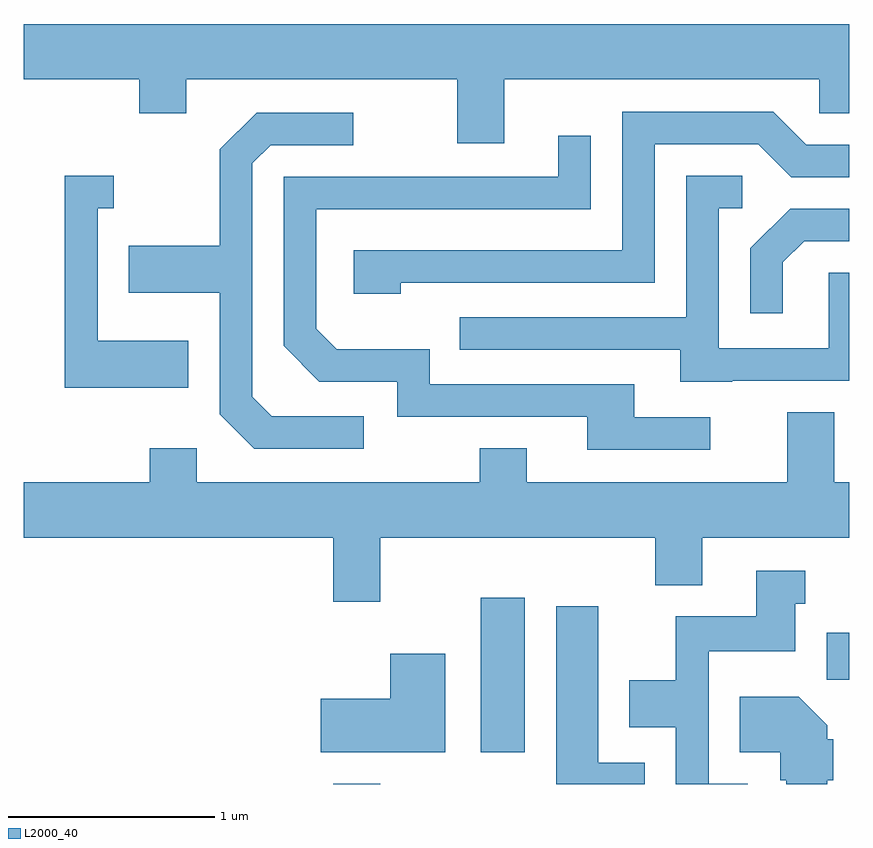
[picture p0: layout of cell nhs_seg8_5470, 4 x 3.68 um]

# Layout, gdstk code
import gdstk
lib = gdstk.Library(unit=1e-6, precision=1e-09)
def R(c, l, rs):  # rectangles x0, y0, x1, y1
    for r in rs: c.add(gdstk.rectangle(r[:2], r[2:], *l))
def P(c, l, *ps):  # polygons
    for p in ps: c.add(gdstk.Polygon(p, *l))
L2000_40 = (2000, 40)

nhs_seg8_5470 = lib.new_cell('nhs_seg8_5470')
R(nhs_seg8_5470, L2000_40, [(351.111,1826.342,351.339,1826.344), (351.826,1826.496,352.039,1827.244), (353.501,1826.846,353.611,1827.074)])
P(nhs_seg8_5470, L2000_40, [(349.611,1829.756),(350.171,1829.756),(350.171,1829.591),(350.399,1829.591),(350.399,1829.756),(351.711,1829.756),(351.711,1829.446),(351.939,1829.446),(351.939,1829.756),(353.466,1829.756),(353.466,1829.591),(353.611,1829.591),(353.611,1830.024),(349.611,1830.024)],
  [(351.439,1828.771),(352.669,1828.771),(352.669,1829.441),(353.169,1829.441),(353.329,1829.281),(353.611,1829.281),(353.611,1829.439),(353.402,1829.439),(353.242,1829.599),(352.511,1829.599),(352.511,1828.929),(351.211,1828.929),(351.211,1828.716),(351.439,1828.716)],
  [(351.258,1828.124),(350.812,1828.124),(350.719,1828.217),(350.719,1829.349),(350.807,1829.436),(351.208,1829.436),(351.208,1829.594),(350.739,1829.594),(350.561,1829.417),(350.561,1828.949),(350.121,1828.949),(350.121,1828.721),(350.561,1828.721),(350.561,1828.134),(350.729,1827.966),(351.258,1827.966)],
  [(352.938,1828.119),(352.569,1828.119),(352.569,1828.279),(351.579,1828.279),(351.579,1828.449),(351.127,1828.449),(351.029,1828.547),(351.029,1829.126),(352.359,1829.126),(352.359,1829.483),(352.201,1829.483),(352.201,1829.284),(350.871,1829.284),(350.871,1828.464),(351.044,1828.291),(351.421,1828.291),(351.421,1828.121),(352.341,1828.121),(352.341,1827.961),(352.938,1827.961)],
  [(350.409,1828.489),(349.969,1828.489),(349.969,1829.131),(350.048,1829.131),(350.048,1829.289),(349.811,1829.289),(349.811,1828.261),(350.409,1828.261)],
  [(353.045,1828.296),(353.611,1828.296),(353.611,1828.819),(353.511,1828.819),(353.511,1828.454),(352.979,1828.454),(352.979,1829.131),(353.093,1829.131),(353.093,1829.289),(352.821,1829.289),(352.821,1828.604),(351.723,1828.604),(351.723,1828.446),(352.791,1828.446),(352.791,1828.291),(353.045,1828.291)],
  [(353.289,1828.869),(353.392,1828.971),(353.611,1828.971),(353.611,1829.129),(353.324,1829.129),(353.131,1828.937),(353.131,1828.623),(353.289,1828.623)],
  [(351.339,1827.536),(352.671,1827.536),(352.671,1827.306),(352.899,1827.306),(352.899,1827.536),(353.611,1827.536),(353.611,1827.804),(353.539,1827.804),(353.539,1828.144),(353.311,1828.144),(353.311,1827.804),(352.049,1827.804),(352.049,1827.969),(351.821,1827.969),(351.821,1827.804),(350.449,1827.804),(350.449,1827.969),(350.221,1827.969),(350.221,1827.804),(349.611,1827.804),(349.611,1827.536),(351.111,1827.536),(351.111,1827.226),(351.339,1827.226)],
  [(353.118,1826.344),(352.929,1826.344),(352.929,1826.986),(353.349,1826.986),(353.349,1827.216),(353.398,1827.216),(353.398,1827.374),(353.161,1827.374),(353.161,1827.154),(352.771,1827.154),(352.771,1826.844),(352.546,1826.844),(352.546,1826.616),(352.771,1826.616),(352.771,1826.342),(353.118,1826.342)],
  [(352.619,1826.444),(352.394,1826.444),(352.394,1827.204),(352.191,1827.204),(352.191,1826.342),(352.619,1826.342)],
  [(351.654,1826.974),(351.386,1826.974),(351.386,1826.754),(351.051,1826.754),(351.051,1826.496),(351.654,1826.496)],
  [(353.504,1826.361),(353.534,1826.361),(353.534,1826.559),(353.504,1826.559),(353.504,1826.627),(353.367,1826.764),(353.081,1826.764),(353.081,1826.496),(353.276,1826.496),(353.276,1826.361),(353.306,1826.361),(353.306,1826.342),(353.504,1826.342)])

lib.write_gds('nhs_seg8_5470.gds')
